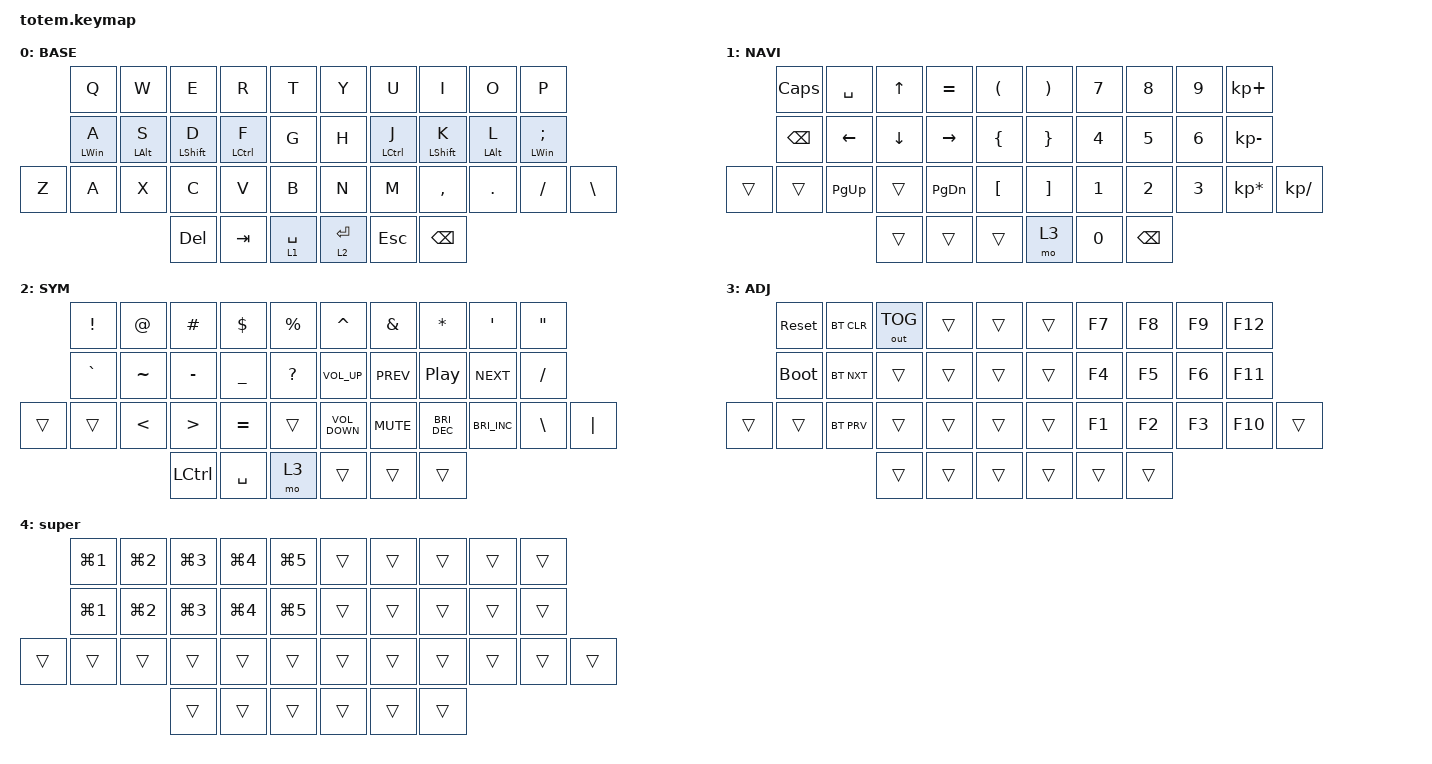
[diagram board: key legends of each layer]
//
//                                                        ▀▀▀▀▀     ▀▀▀▀▀          ▀▀█▀▀
//                                                        ▄▀▀▀▄  ▄  ▄▀▀▀▄  ▄  ▄▀▀▀▄  █  ▄▀▀▀▄
//                                                        █   █  █  █   █  █  █   █  █  █   █
//                                                         ▀▀▀   █   ▀▀▀   █   ▀▀▀   ▀   ▀▀▀
//                                                               █      ▄▄▄█▄▄▄    █   █  
//                                                               ▀      █  █  █     █▄█
//                                                             ▀▀▀▀▀    █  █  █      ▀
//                                                                      ▀  ▀  ▀
//
// ▄▄▄▄▄▄▄▄▄▄▄▄▄▄▄▄▄▄▄▄▄▄▄▄▄▄▄▄▄▄▄▄▄▄▄▄▄▄▄▄▄▄▄▄▄▄▄▄▄▄▄▄▄▄▄▄▄▄▄▄▄▄▄▄▄▄▄▄▄▄▄▄▄▄▄▄▄▄▄▄▄▄▄▄▄▄▄▄▄▄▄▄▄▄▄▄▄▄▄▄▄▄▄▄▄▄▄▄▄▄▄▄▄▄▄▄▄▄▄▄▄▄▄▄▄▄▄▄▄▄▄▄▄▄▄▄▄▄▄▄▄▄▄▄▄▄▄▄▄

#include <behaviors.dtsi>
#include <dt-bindings/zmk/bt.h>
#include <dt-bindings/zmk/keys.h>
#include <dt-bindings/zmk/outputs.h>

#define BASE 0
#define NAV  1
#define SYM  2
#define ADJ  3
#define TVP1 4
#define TVP2 5

&mt {
    quick-tap-ms = <150>;
    flavor = "tap-preferred";
    tapping-term-ms = <300>;
};

/ {
    combos {
        compatible = "zmk,combos";

        combo_esc {
            timeout-ms = <50>;
            key-positions = <0 1>;
            bindings = <&kp ESC>;
            layers = <0>;
        };

        combo_tvp {
            timeout-ms = <100>;
            key-positions = <11 12 13>;
            bindings = <&tog 0>;
        };

        combo_enter {
            timeout-ms = <50>;
            key-positions = <16 17 18>;
            bindings = <&kp RETURN>;
            layers = <0>;
        };

        combo_grave_sym_layout {
            bindings = <&kp GRAVE>;
            key-positions = <0 1>;
            layers = <2>;
            timeout-ms = <50>;
        };

        combo_tilde_sym_layout {
            bindings = <&kp TILDE>;
            key-positions = <0 1 2>;
            timeout-ms = <50>;
            layers = <2>;
        };

        combo_toggle_super {
            bindings = <&tog 4>;
            key-positions = <35 34>;
            layers = <0 4>;
            timeout-ms = <50>;
        };
    };

    macros {
        gif: gif {
            label = "giphy";
            compatible = "zmk,behavior-macro";
            #binding-cells = <0>;
            bindings =
                <&macro_press>,
                <&kp LSHFT>,
                <&macro_tap>,
                <&kp N2>,
                <&macro_release>,
                <&kp LSHFT>,
                <&macro_tap>,
                <&kp G &kp I &kp F>;
        };
    };

    behaviors {
        ft: ft {
            compatible = "zmk,behavior-hold-tap";
            label = "FT";
            bindings = <&kp>, <&kp>;

            #binding-cells = <2>;
            tapping-term-ms = <200>;
            quick-tap-ms = <150>;
            flavor = "tap-preferred";
        };
    };

    keymap {
        compatible = "zmk,keymap";

        // ▄▄▄▄▄▄▄▄▄▄▄▄▄▄▄▄▄▄▄▄▄▄▄▄▄▄▄▄▄▄▄▄▄▄▄▄▄▄▄▄▄▄▄▄▄▄▄▄▄▄▄▄▄▄▄▄▄▄▄▄▄▄▄▄▄▄▄▄▄▄▄▄▄▄▄▄▄▄▄▄▄▄▄▄▄▄▄▄▄▄▄▄▄▄▄▄▄▄▄▄▄▄▄▄▄▄▄▄▄▄▄▄▄▄▄▄▄▄▄▄▄▄▄▄▄▄▄▄▄▄▄▄▄▄▄▄▄▄▄▄▄▄▄▄▄▄▄▄▄

        base_layer {
            // ┏━━━━━━━━━━━━━━━━━━━━━━━━━━━━━━━━━━━━━━━┓

            label = "BASE";

            // ┗━━━━━━━━━━━━━━━━━━━━━━━━━━━━━━━━━━━━━━━┛
            //             ┏━━━━━━━━━━━┳━━━━━━━━━━━┳━━━━━━━━━━━┳━━━━━━━━━━━┳━━━━━━━━━━━┓   ┏━━━━━━━━━━━┳━━━━━━━━━━━┳━━━━━━━━━━━┳━━━━━━━━━━━┳━━━━━━━━━━━┓
            //             ┃     Q     ┃     W     ┃     F     ┃     P     ┃     G     ┃   ┃     J     ┃     L     ┃     U     ┃     Y     ┃     ;     ┃
            //             ┣━━━━━━━━━━━╋━━━━━━━━━━━╋━━━━━━━━━━━╋━━━━━━━━━━━╋━━━━━━━━━━━┫   ┣━━━━━━━━━━━╋━━━━━━━━━━━╋━━━━━━━━━━━╋━━━━━━━━━━━╋━━━━━━━━━━━┫
            //             ┃     A     ┃     R     ┃     S     ┃     T     ┃     D     ┃   ┃     H     ┃     N     ┃     E     ┃     I     ┃     O     ┃
            // ┏━━━━━━━━━━━╋━━━━━━━━━━━╋━━━━━━━━━━━╋━━━━━━━━━━━╋━━━━━━━━━━━╋━━━━━━━━━━━┫   ┣━━━━━━━━━━━╋━━━━━━━━━━━╋━━━━━━━━━━━╋━━━━━━━━━━━╋━━━━━━━━━━━╋━━━━━━━━━━━┓
            // ┃     Q     ┃     Z     ┃     X     ┃     C     ┃     V     ┃     B     ┃   ┃     K     ┃     M     ┃     ,     ┃     .     ┃     /     ┃     \     ┃
            // ┗━━━━━━━━━━━┻━━━━━━━━━━━┻━━━━━━━━━━━╋━━━━━━━━━━━╋━━━━━━━━━━━╋━━━━━━━━━━━┫   ┣━━━━━━━━━━━╋━━━━━━━━━━━╋━━━━━━━━━━━╋━━━━━━━━━━━┻━━━━━━━━━━━┻━━━━━━━━━━━┛
            //                                     ┃    DEL    ┃    TAB    ┃    SPC    ┃   ┃   ENTER   ┃           ┃   BSPC    ┃
            //                                     ┗━━━━━━━━━━━┻━━━━━━━━━━━┻━━━━━━━━━━━┛   ┗━━━━━━━━━━━┻━━━━━━━━━━━┻━━━━━━━━━━━┛

            bindings = <
       &kp Q           &kp W           &kp E             &kp R        &kp T          &kp Y         &kp U               &kp I             &kp O           &kp P
       &mt LEFT_WIN A  &ft LEFT_ALT S  &ft LEFT_SHIFT D  &ft LCTRL F  &kp G          &kp H         &ft LEFT_CONTROL J  &ft LEFT_SHIFT K  &ft LEFT_ALT L  &mt LEFT_WIN SEMICOLON
&kp Z  &kp A           &kp X           &kp C             &kp V        &kp B          &kp N         &kp M               &kp COMMA         &kp DOT         &kp FSLH                &kp BSLH
                                       &kp DELETE        &kp TAB      &lt 1 SPACE    &lt 2 RETURN  &kp ESCAPE          &kp BACKSPACE
            >;
        };

        // ▄▄▄▄▄▄▄▄▄▄▄▄▄▄▄▄▄▄▄▄▄▄▄▄▄▄▄▄▄▄▄▄▄▄▄▄▄▄▄▄▄▄▄▄▄▄▄▄▄▄▄▄▄▄▄▄▄▄▄▄▄▄▄▄▄▄▄▄▄▄▄▄▄▄▄▄▄▄▄▄▄▄▄▄▄▄▄▄▄▄▄▄▄▄▄▄▄▄▄▄▄▄▄▄▄▄▄▄▄▄▄▄▄▄▄▄▄▄▄▄▄▄▄▄▄▄▄▄▄▄▄▄▄▄▄▄▄▄▄▄▄▄▄▄▄▄▄▄▄

        nav_layer {
            // ┏━━━━━━━━━━━━━━━━━━━━━━━━━━━━━━━━━━━━━━━┓

            label = "NAVI";

            // ┗━━━━━━━━━━━━━━━━━━━━━━━━━━━━━━━━━━━━━━━┛
            //             ┏━━━━━━━━━━━┳━━━━━━━━━━━┳━━━━━━━━━━━┳━━━━━━━━━━━┳━━━━━━━━━━━┓   ┏━━━━━━━━━━━┳━━━━━━━━━━━┳━━━━━━━━━━━┳━━━━━━━━━━━┳━━━━━━━━━━━┓
            //             ┃           ┃           ┃     UP    ┃           ┃     {     ┃   ┃     }     ┃     7     ┃     8     ┃     9     ┃     +     ┃
            //             ┣━━━━━━━━━━━╋━━━━━━━━━━━╋━━━━━━━━━━━╋━━━━━━━━━━━╋━━━━━━━━━━━┫   ┣━━━━━━━━━━━╋━━━━━━━━━━━╋━━━━━━━━━━━╋━━━━━━━━━━━╋━━━━━━━━━━━┫
            //             ┃   SHIFT   ┃   LEFT    ┃    DOWN   ┃   RIGHT   ┃     [     ┃   ┃     ]     ┃     4     ┃     5     ┃     6     ┃     -     ┃
            // ┏━━━━━━━━━━━╋━━━━━━━━━━━╋━━━━━━━━━━━╋━━━━━━━━━━━╋━━━━━━━━━━━╋━━━━━━━━━━━┫   ┣━━━━━━━━━━━╋━━━━━━━━━━━╋━━━━━━━━━━━╋━━━━━━━━━━━╋━━━━━━━━━━━╋━━━━━━━━━━━┓
            // ┃           ┃           ┃   P UP    ┃  C LOCK   ┃  P DOWN   ┃     (     ┃   ┃     )     ┃     1     ┃     2     ┃     3     ┃     *     ┃           ┃
            // ┗━━━━━━━━━━━┻━━━━━━━━━━━┻━━━━━━━━━━━╋━━━━━━━━━━━╋━━━━━━━━━━━╋━━━━━━━━━━━┫   ┣━━━━━━━━━━━╋━━━━━━━━━━━╋━━━━━━━━━━━╋━━━━━━━━━━━┻━━━━━━━━━━━┻━━━━━━━━━━━┛
            //                                     ┃           ┃    TAB    ┃    SPC    ┃   ┃    DEL    ┃     0     ┃           ┃
            //                                     ┗━━━━━━━━━━━┻━━━━━━━━━━━┻━━━━━━━━━━━┛   ┗━━━━━━━━━━━┻━━━━━━━━━━━┻━━━━━━━━━━━┛

            bindings = <
        &kp CAPS       &kp SPACE  &kp UP    &kp EQUAL  &kp LEFT_PARENTHESIS    &kp RIGHT_PARENTHESIS  &kp NUMBER_7  &kp NUMBER_8   &kp NUMBER_9  &kp KP_PLUS
        &kp BACKSPACE  &kp LEFT   &kp DOWN  &kp RIGHT  &kp LEFT_BRACE          &kp RIGHT_BRACE        &kp NUMBER_4  &kp NUMBER_5   &kp NUMBER_6  &kp KP_MINUS
&trans  &trans         &kp PG_UP  &trans    &kp PG_DN  &kp LEFT_BRACKET        &kp RIGHT_BRACKET      &kp NUMBER_1  &kp NUMBER_2   &kp NUMBER_3  &kp KP_MULTIPLY  &kp KP_DIVIDE
                                  &trans    &trans     &trans                  &mo 3                  &kp NUMBER_0  &kp BACKSPACE
            >;
        };

        // ▄▄▄▄▄▄▄▄▄▄▄▄▄▄▄▄▄▄▄▄▄▄▄▄▄▄▄▄▄▄▄▄▄▄▄▄▄▄▄▄▄▄▄▄▄▄▄▄▄▄▄▄▄▄▄▄▄▄▄▄▄▄▄▄▄▄▄▄▄▄▄▄▄▄▄▄▄▄▄▄▄▄▄▄▄▄▄▄▄▄▄▄▄▄▄▄▄▄▄▄▄▄▄▄▄▄▄▄▄▄▄▄▄▄▄▄▄▄▄▄▄▄▄▄▄▄▄▄▄▄▄▄▄▄▄▄▄▄▄▄▄▄▄▄▄▄▄▄▄

        sim_layer {
            // ┏━━━━━━━━━━━━━━━━━━━━━━━━━━━━━━━━━━━━━━━┓

            label = "SYM";

            // ┗━━━━━━━━━━━━━━━━━━━━━━━━━━━━━━━━━━━━━━━┛
            //             ┏━━━━━━━━━━━┳━━━━━━━━━━━┳━━━━━━━━━━━┳━━━━━━━━━━━┳━━━━━━━━━━━┓   ┏━━━━━━━━━━━┳━━━━━━━━━━━┳━━━━━━━━━━━┳━━━━━━━━━━━┳━━━━━━━━━━━┓
            //             ┃     !     ┃     @     ┃     #     ┃     $     ┃     %     ┃   ┃     ˆ     ┃     &     ┃     Ü     ┃     '     ┃     #     ┃
            //             ┣━━━━━━━━━━━╋━━━━━━━━━━━╋━━━━━━━━━━━╋━━━━━━━━━━━╋━━━━━━━━━━━┫   ┣━━━━━━━━━━━╋━━━━━━━━━━━╋━━━━━━━━━━━╋━━━━━━━━━━━╋━━━━━━━━━━━┫
            //             ┃     Ä     ┃           ┃    SZ     ┃           ┃           ┃   ┃   MUTE    ┃   YEN     ┃   EURO    ┃  POUND    ┃     /     ┃
            // ┏━━━━━━━━━━━╋━━━━━━━━━━━╋━━━━━━━━━━━╋━━━━━━━━━━━╋━━━━━━━━━━━╋━━━━━━━━━━━┫   ┣━━━━━━━━━━━╋━━━━━━━━━━━╋━━━━━━━━━━━╋━━━━━━━━━━━╋━━━━━━━━━━━╋━━━━━━━━━━━┓
            // ┃           ┃  EMAIL1   ┃  EMAIL2   ┃           ┃           ┃           ┃   ┃   VOL-    ┃   VOL+    ┃   LAST    ┃   NEXT    ┃     \     ┃           ┃
            // ┗━━━━━━━━━━━┻━━━━━━━━━━━┻━━━━━━━━━━━╋━━━━━━━━━━━╋━━━━━━━━━━━╋━━━━━━━━━━━┫   ┣━━━━━━━━━━━╋━━━━━━━━━━━╋━━━━━━━━━━━╋━━━━━━━━━━━┻━━━━━━━━━━━┻━━━━━━━━━━━┛
            //                                     ┃           ┃    GIF    ┃    ADJ    ┃   ┃           ┃           ┃           ┃
            //                                     ┗━━━━━━━━━━━┻━━━━━━━━━━━┻━━━━━━━━━━━┛   ┗━━━━━━━━━━━┻━━━━━━━━━━━┻━━━━━━━━━━━┛

            bindings = <
        &kp EXCL   &kp AT         &kp HASH          &kp DLLR        &kp PRCNT       &kp CARET          &kp AMPS    &kp ASTERISK          &kp SQT               &kp DQT
        &kp GRAVE  &kp TILDE      &kp MINUS         &kp UNDERSCORE  &kp QUESTION    &kp C_VOLUME_UP    &kp C_PREV  &kp C_PP              &kp C_NEXT            &kp FSLH
&trans  &trans     &kp LESS_THAN  &kp GREATER_THAN  &kp EQUAL       &trans          &kp C_VOLUME_DOWN  &kp C_MUTE  &kp C_BRIGHTNESS_DEC  &kp C_BRIGHTNESS_INC  &kp BSLH  &kp PIPE
                                  &kp LCTRL         &kp SPACE       &mo 3           &trans             &trans      &trans
            >;
        };

        // ▄▄▄▄▄▄▄▄▄▄▄▄▄▄▄▄▄▄▄▄▄▄▄▄▄▄▄▄▄▄▄▄▄▄▄▄▄▄▄▄▄▄▄▄▄▄▄▄▄▄▄▄▄▄▄▄▄▄▄▄▄▄▄▄▄▄▄▄▄▄▄▄▄▄▄▄▄▄▄▄▄▄▄▄▄▄▄▄▄▄▄▄▄▄▄▄▄▄▄▄▄▄▄▄▄▄▄▄▄▄▄▄▄▄▄▄▄▄▄▄▄▄▄▄▄▄▄▄▄▄▄▄▄▄▄▄▄▄▄▄▄▄▄▄▄▄▄▄▄

        adjust_layer {
            // ┏━━━━━━━━━━━━━━━━━━━━━━━━━━━━━━━━━━━━━━━┓

            label = "ADJ";

            // ┗━━━━━━━━━━━━━━━━━━━━━━━━━━━━━━━━━━━━━━━┛
            //             ┏━━━━━━━━━━━┳━━━━━━━━━━━┳━━━━━━━━━━━┳━━━━━━━━━━━┳━━━━━━━━━━━┓   ┏━━━━━━━━━━━┳━━━━━━━━━━━┳━━━━━━━━━━━┳━━━━━━━━━━━┳━━━━━━━━━━━┓
            //             ┃   RESET   ┃ BT CLEAR  ┃  OUT TOG  ┃           ┃           ┃   ┃           ┃    F7     ┃    F8     ┃    F9     ┃    F12    ┃
            //             ┣━━━━━━━━━━━╋━━━━━━━━━━━╋━━━━━━━━━━━╋━━━━━━━━━━━╋━━━━━━━━━━━┫   ┣━━━━━━━━━━━╋━━━━━━━━━━━╋━━━━━━━━━━━╋━━━━━━━━━━━╋━━━━━━━━━━━┫
            //             ┃ BOOTLOAD  ┃ BT NEXT   ┃           ┃           ┃           ┃   ┃           ┃    F4     ┃    F5     ┃    F6     ┃    F11    ┃
            // ┏━━━━━━━━━━━╋━━━━━━━━━━━╋━━━━━━━━━━━╋━━━━━━━━━━━╋━━━━━━━━━━━╋━━━━━━━━━━━┫   ┣━━━━━━━━━━━╋━━━━━━━━━━━╋━━━━━━━━━━━╋━━━━━━━━━━━╋━━━━━━━━━━━╋━━━━━━━━━━━┓
            // ┃           ┃           ┃ BT PREV   ┃           ┃           ┃           ┃   ┃           ┃    F1     ┃    F2     ┃    F3     ┃    F10    ┃           ┃
            // ┗━━━━━━━━━━━┻━━━━━━━━━━━┻━━━━━━━━━━━╋━━━━━━━━━━━╋━━━━━━━━━━━╋━━━━━━━━━━━┫   ┣━━━━━━━━━━━╋━━━━━━━━━━━╋━━━━━━━━━━━╋━━━━━━━━━━━┻━━━━━━━━━━━┻━━━━━━━━━━━┛
            //                                     ┃           ┃           ┃           ┃   ┃           ┃           ┃           ┃
            //                                     ┗━━━━━━━━━━━┻━━━━━━━━━━━┻━━━━━━━━━━━┛   ┗━━━━━━━━━━━┻━━━━━━━━━━━┻━━━━━━━━━━━┛

            bindings = <
        &sys_reset   &bt BT_CLR  &out OUT_TOG  &trans  &trans    &trans  &kp F7  &kp F8  &kp F9  &kp F12
        &bootloader  &bt BT_NXT  &trans        &trans  &trans    &trans  &kp F4  &kp F5  &kp F6  &kp F11
&trans  &trans       &bt BT_PRV  &trans        &trans  &trans    &trans  &kp F1  &kp F2  &kp F3  &kp F10  &trans
                                 &trans        &trans  &trans    &trans  &trans  &trans
            >;
        };

        // ▄▄▄▄▄▄▄▄▄▄▄▄▄▄▄▄▄▄▄▄▄▄▄▄▄▄▄▄▄▄▄▄▄▄▄▄▄▄▄▄▄▄▄▄▄▄▄▄▄▄▄▄▄▄▄▄▄▄▄▄▄▄▄▄▄▄▄▄▄▄▄▄▄▄▄▄▄▄▄▄▄▄▄▄▄▄▄▄▄▄▄▄▄▄▄▄▄▄▄▄▄▄▄▄▄▄▄▄▄▄▄▄▄▄▄▄▄▄▄▄▄▄▄▄▄▄▄▄▄▄▄▄▄▄▄▄▄▄▄▄▄▄▄▄▄▄▄▄▄
        // ▄▄▄▄▄▄▄▄▄▄▄▄▄▄▄▄▄▄▄▄▄▄▄▄▄▄▄▄▄▄▄▄▄▄▄▄▄▄▄▄▄▄▄▄▄▄▄▄▄▄▄▄▄▄▄▄▄▄▄▄▄▄▄▄▄▄▄▄▄▄▄▄▄▄▄▄▄▄▄▄▄▄▄▄▄▄▄▄▄▄▄▄▄▄▄▄▄▄▄▄▄▄▄▄▄▄▄▄▄▄▄▄▄▄▄▄▄▄▄▄▄▄▄▄▄▄▄▄▄▄▄▄▄▄▄▄▄▄▄▄▄▄▄▄▄▄▄▄▄

        super {
            bindings = <
        &kp LG(NUMBER_1)  &kp LG(NUMBER_2)  &kp LG(NUMBER_3)  &kp LG(NUMBER_4)  &kp LG(NUMBER_5)    &trans  &trans  &trans  &trans  &trans
        &kp LG(NUMBER_1)  &kp LG(NUMBER_2)  &kp LG(NUMBER_3)  &kp LG(NUMBER_4)  &kp LG(NUMBER_5)    &trans  &trans  &trans  &trans  &trans
&trans  &trans            &trans            &trans            &trans            &trans              &trans  &trans  &trans  &trans  &trans  &trans
                                            &trans            &trans            &trans              &trans  &trans  &trans
            >;
        };
    };
};
